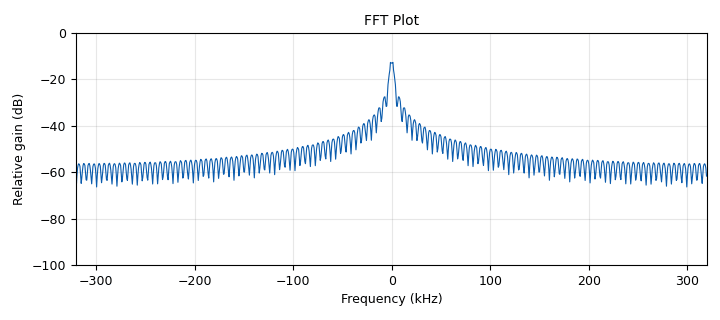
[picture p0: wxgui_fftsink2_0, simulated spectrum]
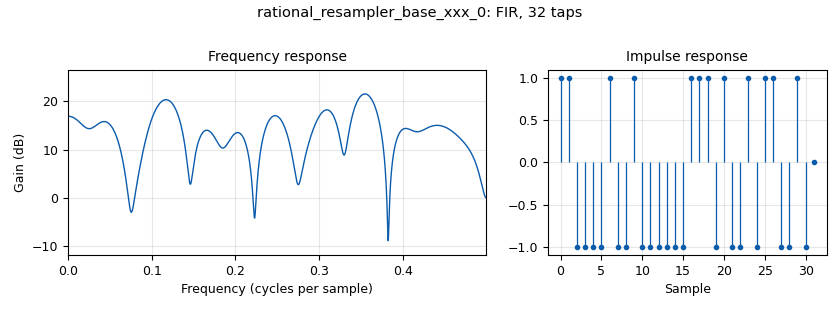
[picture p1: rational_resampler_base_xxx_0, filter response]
<?xml version='1.0' encoding='utf-8'?>
<?grc format='1' created='3.7.11'?>
<flow_graph>
<block>
<key>options</key>
<param><key>id</key><value>top_block</value></param>
<param><key>author</key><value>Benjamin Nuss</value></param>
<param><key>category</key><value>Custom</value></param>
<param><key>generate_options</key><value>wx_gui</value></param>
<param><key>realtime_scheduling</key><value>1</value></param>
<param><key>run_options</key><value>run</value></param>
</block>
<block>
<key>variable</key>
<param><key>id</key><value>interpolation</value></param>
<param><key>value</key><value>4</value></param>
</block>
<block>
<key>variable</key>
<param><key>id</key><value>pn_len</value></param>
<param><key>value</key><value>32</value></param>
</block>
<block>
<key>variable</key>
<param><key>id</key><value>samp_rate</value></param>
<param><key>value</key><value>5000</value></param>
</block>
<block>
<key>variable_chooser</key>
<param><key>id</key><value>spreading_offon</value></param>
<param><key>choices</key><value>[0,1]</value></param>
<param><key>value</key><value>0</value></param>
<param><key>label</key><value>Spreading Off/On</value></param>
<param><key>labels</key><value>[]</value></param>
<param><key>style</key><value>wx.RA_HORIZONTAL</value></param>
<param><key>type</key><value>radio_buttons</value></param>
</block>
<block>
<key>blks2_selector</key>
<param><key>id</key><value>blks2_selector_0</value></param>
<param><key>input_index</key><value>spreading_offon</value></param>
<param><key>num_inputs</key><value>2</value></param>
<param><key>num_outputs</key><value>1</value></param>
<param><key>output_index</key><value>0</value></param>
<param><key>type</key><value>float</value></param>
<param><key>vlen</key><value>1</value></param>
</block>
<block>
<key>blocks_float_to_complex</key>
<param><key>id</key><value>blocks_float_to_complex_1</value></param>
</block>
<block>
<key>blocks_repeat</key>
<param><key>id</key><value>blocks_repeat_0</value></param>
<param><key>interp</key><value>31</value></param>
<param><key>type</key><value>float</value></param>
</block>
<block>
<key>blocks_repeat</key>
<param><key>id</key><value>blocks_repeat_1</value></param>
<param><key>interp</key><value>4</value></param>
<param><key>type</key><value>complex</value></param>
</block>
<block>
<key>blocks_throttle</key>
<param><key>id</key><value>blocks_throttle_0</value></param>
<param><key>samples_per_second</key><value>samp_rate*pn_len*interpolation</value></param>
<param><key>type</key><value>complex</value></param>
</block>
<block>
<key>digital_glfsr_source_x</key>
<param><key>id</key><value>digital_glfsr_source_x_0</value></param>
<param><key>degree</key><value>15</value></param>
<param><key>mask</key><value>0</value></param>
<param><key>repeat</key><value>True</value></param>
<param><key>seed</key><value>1</value></param>
<param><key>type</key><value>float</value></param>
</block>
<block>
<key>rational_resampler_base_xxx</key>
<param><key>id</key><value>rational_resampler_base_xxx_0</value></param>
<param><key>decim</key><value>1</value></param>
<param><key>interp</key><value>pn_len</value></param>
<param><key>taps</key><value>[1,1,-1,-1,-1,-1,1,-1,-1,1,-1,-1,-1,-1,-1,-1,1,1,1,-1,1,-1,-1,1,-1,1,1,-1,-1,1,-1,0]</value></param>
<param><key>type</key><value>fff</value></param>
</block>
<block>
<key>uhd_usrp_sink</key>
<param><key>id</key><value>uhd_usrp_sink_0</value></param>
<param><key>ant0</key><value>J1</value></param>
<param><key>center_freq0</key><value>2.48e9</value></param>
<param><key>norm_gain0</key><value>False</value></param>
<param><key>gain0</key><value>0</value></param>
<param><key>clock_rate</key><value>0.0</value></param>
<param><key>dev_addr</key><value>addr=192.168.10.4</value></param>
<param><key>dev_args</key><value>""</value></param>
<param><key>_enabled</key><value>0</value></param>
<param><key>type</key><value>fc32</value></param>
<param><key>clock_source0</key><value>gpsdo</value></param>
<param><key>samp_rate</key><value>samp_rate*pn_len*interpolation</value></param>
<param><key>hide_cmd_port</key><value>False</value></param>
<param><key>hide_lo_controls</key><value>True</value></param>
<param><key>sync</key><value></value></param>
<param><key>len_tag_name</key><value></value></param>
</block>
<block>
<key>wxgui_fftsink2</key>
<param><key>id</key><value>wxgui_fftsink2_0</value></param>
<param><key>avg_alpha</key><value>0</value></param>
<param><key>average</key><value>True</value></param>
<param><key>baseband_freq</key><value>0</value></param>
<param><key>fft_size</key><value>1024</value></param>
<param><key>freqvar</key><value>None</value></param>
<param><key>peak_hold</key><value>False</value></param>
<param><key>ref_level</key><value>0</value></param>
<param><key>ref_scale</key><value>2.0</value></param>
<param><key>fft_rate</key><value>15</value></param>
<param><key>samp_rate</key><value>samp_rate*pn_len*interpolation</value></param>
<param><key>title</key><value>FFT Plot</value></param>
<param><key>type</key><value>complex</value></param>
<param><key>win</key><value>None</value></param>
<param><key>y_divs</key><value>10</value></param>
<param><key>y_per_div</key><value>10</value></param>
</block>
<connection><source_block_id>blks2_selector_0</source_block_id><sink_block_id>blocks_float_to_complex_1</sink_block_id><source_key>0</source_key><sink_key>0</sink_key></connection>
<connection><source_block_id>blocks_float_to_complex_1</source_block_id><sink_block_id>blocks_repeat_1</sink_block_id><source_key>0</source_key><sink_key>0</sink_key></connection>
<connection><source_block_id>blocks_repeat_0</source_block_id><sink_block_id>blks2_selector_0</sink_block_id><source_key>0</source_key><sink_key>0</sink_key></connection>
<connection><source_block_id>blocks_repeat_1</source_block_id><sink_block_id>blocks_throttle_0</sink_block_id><source_key>0</source_key><sink_key>0</sink_key></connection>
<connection><source_block_id>blocks_repeat_1</source_block_id><sink_block_id>uhd_usrp_sink_0</sink_block_id><source_key>0</source_key><sink_key>0</sink_key></connection>
<connection><source_block_id>blocks_throttle_0</source_block_id><sink_block_id>wxgui_fftsink2_0</sink_block_id><source_key>0</source_key><sink_key>0</sink_key></connection>
<connection><source_block_id>digital_glfsr_source_x_0</source_block_id><sink_block_id>blocks_repeat_0</sink_block_id><source_key>0</source_key><sink_key>0</sink_key></connection>
<connection><source_block_id>digital_glfsr_source_x_0</source_block_id><sink_block_id>rational_resampler_base_xxx_0</sink_block_id><source_key>0</source_key><sink_key>0</sink_key></connection>
<connection><source_block_id>rational_resampler_base_xxx_0</source_block_id><sink_block_id>blks2_selector_0</sink_block_id><source_key>0</source_key><sink_key>1</sink_key></connection>
</flow_graph>
